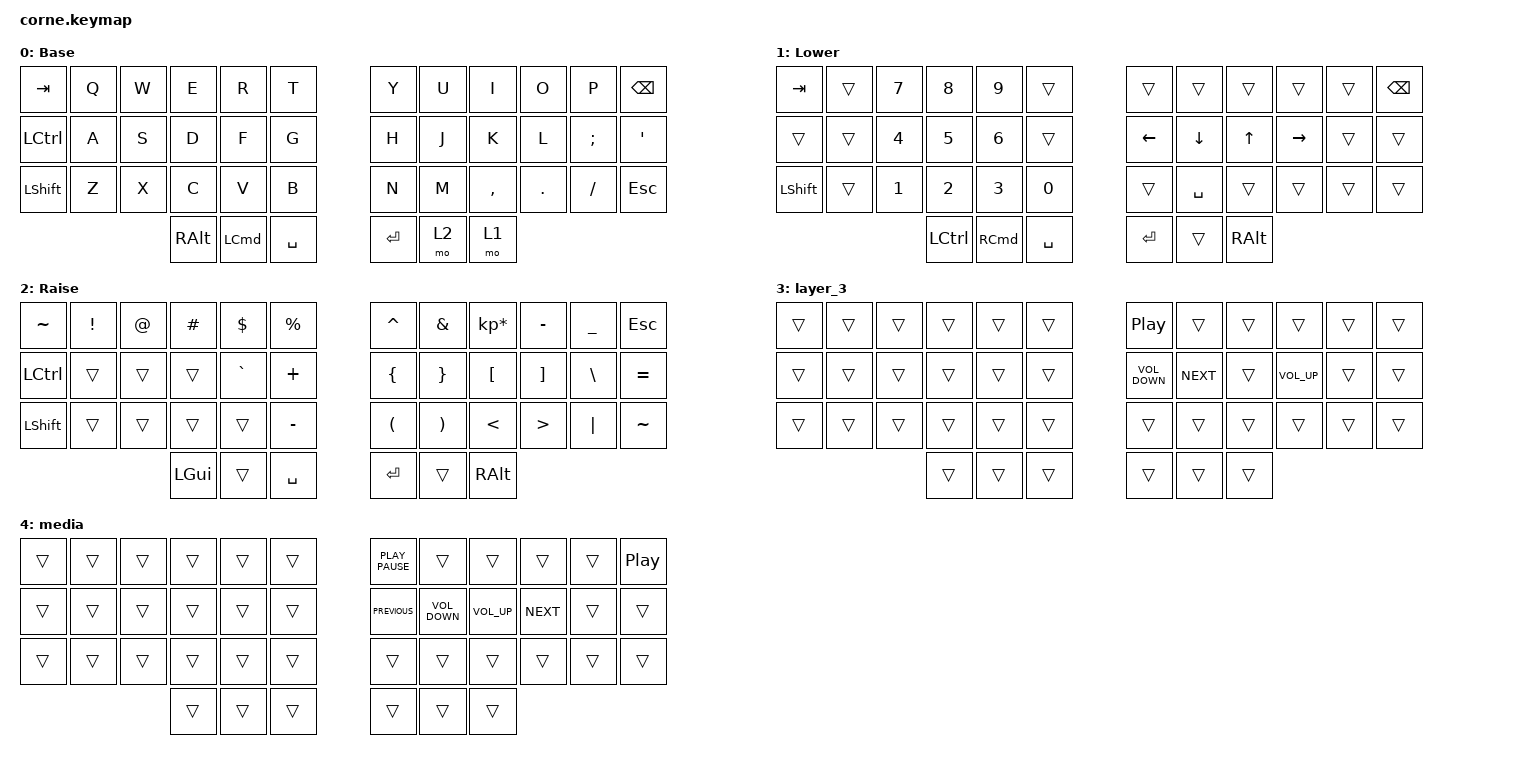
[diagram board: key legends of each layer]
#include <behaviors.dtsi>
#include <dt-bindings/zmk/bt.h>
#include <dt-bindings/zmk/keys.h>

/ {
    combos {
        compatible = "zmk,combos";

        backslashtest {
            bindings = <&kp BACKSLASH>;
            key-positions = <5 6>;
            layers = <0>;
        };

        btprofile {
            bindings = <&bt BT_NXT>;
            key-positions = <0 11>;
            layers = <1>;
        };

        arcmain {
            bindings = <&mo 3>;
            key-positions = <2 3>;
        };

        media_layer {
            bindings = <&sl 4>;
            key-positions = <6 7>;
        };

        arcwork {
            bindings = <&kp LC(NUMBER_3)>;
            key-positions = <4 5>;
        };
    };

    macros {
        just_copy: new_macro {
            compatible = "zmk,behavior-macro";
            #binding-cells = <0>;
            bindings = <&kp LEFT_COMMAND &kp C>;
            label = "NEW_MACRO";
        };
    };

    keymap {
        compatible = "zmk,keymap";

        default_layer {
            // -----------------------------------------------------------------------------------------
            // |  TAB |  Q  |  W  |  E  |  R  |  T  |   |  Y  |  U   |  I  |  O  |  P  | BKSP |
            // | CTRL |  A  |  S  |  D  |  F  |  G  |   |  H  |  J   |  K  |  L  |  ;  |  '   |
            // | SHFT |  Z  |  X  |  C  |  V  |  B  |   |  N  |  M   |  ,  |  .  |  /  | ESC  |
            //                    | GUI | LWR | SPC |   | ENT | RSE  | ALT |

            label = "Base";
            bindings = <
&kp TAB    &kp Q  &kp W  &kp E          &kp R             &kp T        &kp Y    &kp U  &kp I      &kp O    &kp P     &kp BSPC
&kp LCTRL  &kp A  &kp S  &kp D          &kp F             &kp G        &kp H    &kp J  &kp K      &kp L    &kp SEMI  &kp SQT
&kp LSHFT  &kp Z  &kp X  &kp C          &kp V             &kp B        &kp N    &kp M  &kp COMMA  &kp DOT  &kp FSLH  &kp ESC
                         &kp RIGHT_ALT  &kp LEFT_COMMAND  &kp SPACE    &kp RET  &mo 2  &mo 1
            >;
        };

        lower_layer {
            // -----------------------------------------------------------------------------------------
            // |  TAB |  1  |  2  |  3  |  4  |  5  |   |  6  |  7  |  8  |  9  |  0  | BKSP |
            // | BTCLR| BT1 | BT2 | BT3 | BT4 | BT5 |   | LFT | DWN |  UP | RGT |     |      |
            // | SHFT |     |     |     |     |     |   |     |     |     |     |     |      |
            //                    | GUI |     | SPC |   | ENT |     | ALT |

            label = "Lower";
            bindings = <
&kp TAB    &trans  &kp N7        &kp N8            &kp N9             &trans          &trans    &trans     &trans    &trans     &trans  &kp BSPC
&trans     &trans  &kp NUMBER_4  &kp N5            &kp NUMBER_6       &trans          &kp LEFT  &kp DOWN   &kp UP    &kp RIGHT  &trans  &trans
&kp LSHFT  &trans  &kp NUMBER_1  &kp NUMBER_2      &kp NUMBER_3       &kp NUMBER_0    &trans    &kp SPACE  &trans    &trans     &trans  &trans
                                 &kp LEFT_CONTROL  &kp RIGHT_COMMAND  &kp SPACE       &kp RET   &trans     &kp RALT
            >;
        };

        raise_layer {
            // -----------------------------------------------------------------------------------------
            // |  TAB |  !  |  @  |  #  |  $  |  %  |   |  ^  |  &  |  *  |  (  |  )  | BKSP |
            // | CTRL |     |     |     |     |     |   |  -  |  =  |  [  |  ]  |  \  |  `   |
            // | SHFT |     |     |     |     |     |   |  _  |  +  |  {  |  }  | "|" |  ~   |
            //                    | GUI |     | SPC |   | ENT |     | ALT |

            label = "Raise";
            bindings = <
&kp TILDE  &kp EXCL  &kp AT  &kp HASH  &kp DLLR   &kp PRCNT    &kp CARET             &kp AMPS               &kp KP_MULTIPLY  &kp MINUS         &kp UNDERSCORE  &kp ESC
&kp LCTRL  &trans    &trans  &trans    &kp GRAVE  &kp PLUS     &kp LEFT_BRACE        &kp RIGHT_BRACE        &kp LBKT         &kp RBKT          &kp BSLH        &kp EQUAL
&kp LSHFT  &trans    &trans  &trans    &trans     &kp MINUS    &kp LEFT_PARENTHESIS  &kp RIGHT_PARENTHESIS  &kp LESS_THAN    &kp GREATER_THAN  &kp PIPE        &kp TILDE
                             &kp LGUI  &trans     &kp SPACE    &kp RET               &trans                 &kp RALT
            >;
        };

        layer_3 {
            bindings = <
&trans  &trans  &trans  &trans  &trans  &trans    &kp C_PLAY_PAUSE   &trans      &trans  &trans           &trans  &trans
&trans  &trans  &trans  &trans  &trans  &trans    &kp C_VOLUME_DOWN  &kp C_NEXT  &trans  &kp C_VOLUME_UP  &trans  &trans
&trans  &trans  &trans  &trans  &trans  &trans    &trans             &trans      &trans  &trans           &trans  &trans
                        &trans  &trans  &trans    &trans             &trans      &trans
            >;
        };

        media {
            bindings = <
&trans  &trans  &trans  &trans  &trans  &trans    &kp K_PLAY_PAUSE  &trans             &trans           &trans      &trans  &kp C_PLAY_PAUSE
&trans  &trans  &trans  &trans  &trans  &trans    &kp C_PREVIOUS    &kp K_VOLUME_DOWN  &kp K_VOLUME_UP  &kp C_NEXT  &trans  &trans
&trans  &trans  &trans  &trans  &trans  &trans    &trans            &trans             &trans           &trans      &trans  &trans
                        &trans  &trans  &trans    &trans            &trans             &trans
            >;
        };
    };

    conditional_layers {
        compatible = "zmk,conditional-layers";

        hmlayer {
            if-layers = <0>;
            then-layer = <3>;
        };
    };
};
